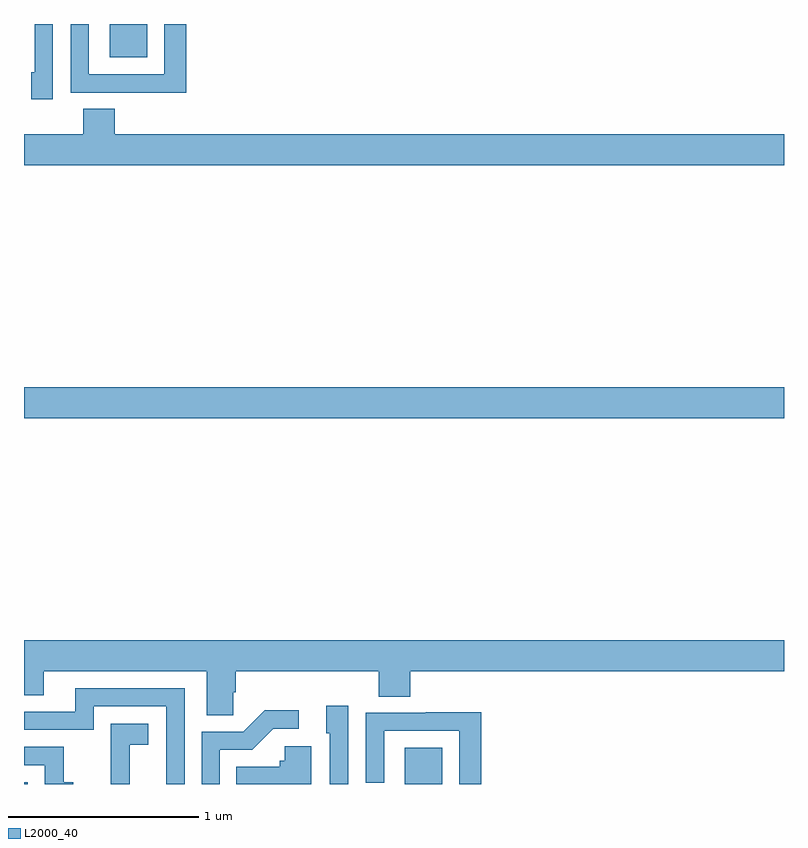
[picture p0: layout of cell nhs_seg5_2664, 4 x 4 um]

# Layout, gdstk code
import gdstk
lib = gdstk.Library(unit=1e-6, precision=1e-09)
def R(c, l, rs):  # rectangles x0, y0, x1, y1
    for r in rs: c.add(gdstk.rectangle(r[:2], r[2:], *l))
def P(c, l, *ps):  # polygons
    for p in ps: c.add(gdstk.Polygon(p, *l))
L2000_40 = (2000, 40)

nhs_seg5_2664 = lib.new_cell('nhs_seg5_2664')
R(nhs_seg5_2664, L2000_40, [(265,890.799,265.02,890.808), (267.005,890.799,267.202,890.989), (265,892.724,269,892.888), (265.451,894.623,265.648,894.799)])
P(nhs_seg5_2664, L2000_40, [(265.152,894.799),(265.056,894.799),(265.056,894.546),(265.037,894.546),(265.037,894.402),(265.152,894.402)],
  [(265.853,894.799),(265.737,894.799),(265.737,894.534),(265.341,894.534),(265.341,894.799),(265.245,894.799),(265.245,894.438),(265.561,894.438),(265.561,894.437),(265.853,894.437)],
  [(269,894.22),(265.478,894.22),(265.478,894.353),(265.313,894.353),(265.313,894.22),(265,894.22),(265,894.056),(269,894.056)],
  [(266.1,891.283),(266.114,891.283),(266.114,891.392),(266.867,891.392),(266.867,891.259),(267.032,891.259),(267.032,891.392),(269,891.392),(269,891.556),(265,891.556),(265,891.265),(265.105,891.265),(265.105,891.392),(265.961,891.392),(265.961,891.16),(266.1,891.16)],
  [(265.845,891.303),(265.271,891.303),(265.271,891.18),(265,891.18),(265,891.084),(265.368,891.084),(265.368,891.207),(265.749,891.207),(265.749,890.799),(265.845,890.799)],
  [(266.706,891.211),(266.591,891.211),(266.591,891.066),(266.61,891.066),(266.61,890.799),(266.706,890.799)],
  [(266.031,890.979),(266.2,890.979),(266.311,891.09),(266.446,891.09),(266.446,891.188),(266.267,891.188),(266.154,891.075),(265.935,891.075),(265.935,890.799),(266.031,890.799)],
  [(267.407,891.176),(267.115,891.176),(267.115,891.174),(266.799,891.174),(266.799,890.805),(266.895,890.805),(266.895,891.078),(267.291,891.078),(267.291,890.799),(267.407,890.799)],
  [(265.556,891.005),(265.654,891.005),(265.654,891.115),(265.456,891.115),(265.456,890.909),(265.457,890.909),(265.457,890.799),(265.556,890.799)],
  [(266.512,890.998),(266.373,890.998),(266.373,890.922),(266.347,890.922),(266.347,890.89),(266.116,890.89),(266.116,890.799),(266.512,890.799)],
  [(265.258,890.809),(265.209,890.809),(265.209,890.994),(265,890.994),(265,890.898),(265.11,890.898),(265.11,890.799),(265.258,890.799)])

lib.write_gds('nhs_seg5_2664.gds')
